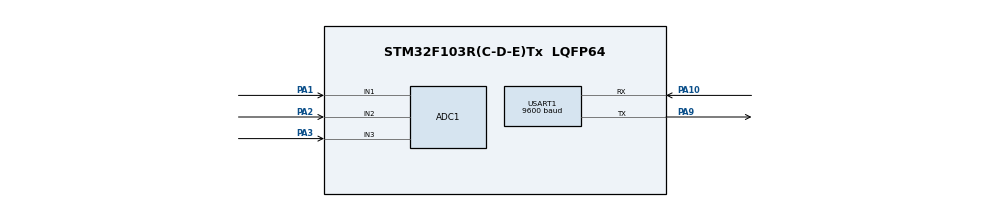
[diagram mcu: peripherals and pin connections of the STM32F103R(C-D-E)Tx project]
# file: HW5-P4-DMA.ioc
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ADC1.Channel-0\#ChannelRegularConversion=ADC_CHANNEL_1
ADC1.Channel-1\#ChannelRegularConversion=ADC_CHANNEL_2
ADC1.Channel-2\#ChannelRegularConversion=ADC_CHANNEL_3
ADC1.ContinuousConvMode=ENABLE
ADC1.NbrOfConversion=3
ADC1.NbrOfConversionFlag=1
ADC1.Rank-0\#ChannelRegularConversion=1
ADC1.Rank-1\#ChannelRegularConversion=2
ADC1.Rank-2\#ChannelRegularConversion=3
ADC1.SamplingTime-0\#ChannelRegularConversion=ADC_SAMPLETIME_239CYCLES_5
ADC1.SamplingTime-1\#ChannelRegularConversion=ADC_SAMPLETIME_239CYCLES_5
ADC1.SamplingTime-2\#ChannelRegularConversion=ADC_SAMPLETIME_239CYCLES_5
ADC1.master=1
Dma.ADC1.0.Direction=DMA_PERIPH_TO_MEMORY
Dma.ADC1.0.Instance=DMA1_Channel1
Dma.ADC1.0.MemDataAlignment=DMA_MDATAALIGN_HALFWORD
Dma.ADC1.0.MemInc=DMA_MINC_ENABLE
Dma.ADC1.0.Mode=DMA_CIRCULAR
Dma.ADC1.0.PeriphDataAlignment=DMA_PDATAALIGN_HALFWORD
Dma.ADC1.0.PeriphInc=DMA_PINC_DISABLE
Dma.ADC1.0.Priority=DMA_PRIORITY_LOW
Dma.Request0=ADC1
Mcu.Family=STM32F1
Mcu.Name=STM32F103R(C-D-E)Tx
Mcu.Package=LQFP64
NVIC.DMA1_Channel1_IRQn=true\:0\:0\:false\:false\:true\:false\:true\:true
NVIC.PriorityGroup=NVIC_PRIORITYGROUP_4
PA1.Signal=ADCx_IN1
PA10.Mode=Asynchronous
PA10.Signal=USART1_RX
PA13.Mode=Serial_Wire
PA13.Signal=SYS_JTMS-SWDIO
PA14.Mode=Serial_Wire
PA14.Signal=SYS_JTCK-SWCLK
PA2.Signal=ADCx_IN2
PA3.Signal=ADCx_IN3
PA9.Mode=Asynchronous
PA9.Signal=USART1_TX
PD0-OSC_IN.Mode=HSE-External-Oscillator
PD0-OSC_IN.Signal=RCC_OSC_IN
PD1-OSC_OUT.Mode=HSE-External-Oscillator
PD1-OSC_OUT.Signal=RCC_OSC_OUT
ProjectManager.HeapSize=0x200
ProjectManager.StackSize=0x400
ProjectManager.TargetToolchain=MDK-ARM V5.32
RCC.APB1Freq_Value=8000000
RCC.APB2Freq_Value=8000000
SH.ADCx_IN1.0=ADC1_IN1,IN1
SH.ADCx_IN2.0=ADC1_IN2,IN2
SH.ADCx_IN3.0=ADC1_IN3,IN3
USART1.BaudRate=9600
USART1.VirtualMode=VM_ASYNC
board=custom

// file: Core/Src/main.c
/* USER CODE BEGIN Header */
/**
  ******************************************************************************
  * @file           : main.c
  * @brief          : Main program body
  ******************************************************************************
  * @attention
  *
  * Copyright (c) 2026 STMicroelectronics.
  * All rights reserved.
  *
  * This software is licensed under terms that can be found in the LICENSE file
  * in the root directory of this software component.
  * If no LICENSE file comes with this software, it is provided AS-IS.
  *
  ******************************************************************************
  */
/* USER CODE END Header */
#include "main.h"

/* USER CODE BEGIN Includes */
#include <stdio.h>
#include <string.h>
/* USER CODE END Includes */

ADC_HandleTypeDef hadc1;
DMA_HandleTypeDef hdma_adc1;

UART_HandleTypeDef huart1;

/* USER CODE BEGIN PV */
char uart_buffer[100];
uint16_t adc_buffer[150]; // 50 samples * 3 channels = 150 elements
volatile uint8_t adc_data_ready = 0; // Flag to tell the main loop the buffer is full
/* USER CODE END PV */

void SystemClock_Config(void);
static void MX_GPIO_Init(void);
static void MX_DMA_Init(void);
static void MX_ADC1_Init(void);
static void MX_USART1_UART_Init(void);

/* USER CODE BEGIN 0 */
void HAL_ADC_ConvCpltCallback(ADC_HandleTypeDef* hadc)
{
    // The DMA has finished filling the 150-element array
    if(hadc->Instance == ADC1)
    {
        adc_data_ready = 1;
    }
}
/* USER CODE END 0 */

int main(void)
{

  /* MCU Configuration--------------------------------------------------------*/

  /* Reset of all peripherals, Initializes the Flash interface and the Systick. */
  HAL_Init();

  /* Configure the system clock */
  SystemClock_Config();

  /* Initialize all configured peripherals */
  MX_GPIO_Init();
  MX_DMA_Init();
  MX_ADC1_Init();
  MX_USART1_UART_Init();
  /* USER CODE BEGIN 2 */
	// Start the ADC in DMA mode ONE time before the while loop.
  // It will run continuously in the background forever.
  HAL_ADC_Start_DMA(&hadc1, (uint32_t*)adc_buffer, 150);
  /* USER CODE END 2 */

  /* Infinite loop */
  /* USER CODE BEGIN WHILE */
  while (1)
  {
		// Only process the data when the DMA tells us 50 new samples for each channel are ready
      if (adc_data_ready == 1)
      {
          uint32_t sum_ch1 = 0, sum_ch2 = 0, sum_ch3 = 0;
          uint16_t avg_ch1, avg_ch2, avg_ch3;

          // Step through the array. i jumps by 3 each time.
          for (int i = 0; i < 150; i += 3)
          {
              sum_ch1 += adc_buffer[i];       // Rank 1
              sum_ch2 += adc_buffer[i + 1];   // Rank 2
              sum_ch3 += adc_buffer[i + 2];   // Rank 3
          }

          avg_ch1 = sum_ch1 / 50;
          avg_ch2 = sum_ch2 / 50;
          avg_ch3 = sum_ch3 / 50;

          // Format and send the string
          sprintf(uart_buffer, "Channel 1: %04d | Channel 2: %04d | Channel 3: %04d\r\n", avg_ch1, avg_ch2, avg_ch3);
          HAL_UART_Transmit(&huart1, (uint8_t*)uart_buffer, strlen(uart_buffer), HAL_MAX_DELAY);

          // Reset the flag and wait
          adc_data_ready = 0;
          HAL_Delay(50);
      }
    /* USER CODE END WHILE */

  }
}

void SystemClock_Config(void)
{
  RCC_OscInitTypeDef RCC_OscInitStruct = {0};
  RCC_ClkInitTypeDef RCC_ClkInitStruct = {0};
  RCC_PeriphCLKInitTypeDef PeriphClkInit = {0};

  /** Initializes the RCC Oscillators according to the specified parameters
  * in the RCC_OscInitTypeDef structure.
  */
  RCC_OscInitStruct.OscillatorType = RCC_OSCILLATORTYPE_HSI;
  RCC_OscInitStruct.HSIState = RCC_HSI_ON;
  RCC_OscInitStruct.HSICalibrationValue = RCC_HSICALIBRATION_DEFAULT;
  RCC_OscInitStruct.PLL.PLLState = RCC_PLL_NONE;
  if (HAL_RCC_OscConfig(&RCC_OscInitStruct) != HAL_OK)
  {
    Error_Handler();
  }

  /** Initializes the CPU, AHB and APB buses clocks
  */
  RCC_ClkInitStruct.ClockType = RCC_CLOCKTYPE_HCLK|RCC_CLOCKTYPE_SYSCLK
                              |RCC_CLOCKTYPE_PCLK1|RCC_CLOCKTYPE_PCLK2;
  RCC_ClkInitStruct.SYSCLKSource = RCC_SYSCLKSOURCE_HSI;
  RCC_ClkInitStruct.AHBCLKDivider = RCC_SYSCLK_DIV1;
  RCC_ClkInitStruct.APB1CLKDivider = RCC_HCLK_DIV1;
  RCC_ClkInitStruct.APB2CLKDivider = RCC_HCLK_DIV1;

  if (HAL_RCC_ClockConfig(&RCC_ClkInitStruct, FLASH_LATENCY_0) != HAL_OK)
  {
    Error_Handler();
  }
  PeriphClkInit.PeriphClockSelection = RCC_PERIPHCLK_ADC;
  PeriphClkInit.AdcClockSelection = RCC_ADCPCLK2_DIV2;
  if (HAL_RCCEx_PeriphCLKConfig(&PeriphClkInit) != HAL_OK)
  {
    Error_Handler();
  }
}

static void MX_ADC1_Init(void)
{

  ADC_ChannelConfTypeDef sConfig = {0};

  /** Common config
  */
  hadc1.Instance = ADC1;
  hadc1.Init.ScanConvMode = ADC_SCAN_ENABLE;
  hadc1.Init.ContinuousConvMode = ENABLE;
  hadc1.Init.DiscontinuousConvMode = DISABLE;
  hadc1.Init.ExternalTrigConv = ADC_SOFTWARE_START;
  hadc1.Init.DataAlign = ADC_DATAALIGN_RIGHT;
  hadc1.Init.NbrOfConversion = 3;
  if (HAL_ADC_Init(&hadc1) != HAL_OK)
  {
    Error_Handler();
  }

  /** Configure Regular Channel
  */
  sConfig.Channel = ADC_CHANNEL_1;
  sConfig.Rank = ADC_REGULAR_RANK_1;
  sConfig.SamplingTime = ADC_SAMPLETIME_239CYCLES_5;
  if (HAL_ADC_ConfigChannel(&hadc1, &sConfig) != HAL_OK)
  {
    Error_Handler();
  }

  /** Configure Regular Channel
  */
  sConfig.Channel = ADC_CHANNEL_2;
  sConfig.Rank = ADC_REGULAR_RANK_2;
  if (HAL_ADC_ConfigChannel(&hadc1, &sConfig) != HAL_OK)
  {
    Error_Handler();
  }

  /** Configure Regular Channel
  */
  sConfig.Channel = ADC_CHANNEL_3;
  sConfig.Rank = ADC_REGULAR_RANK_3;
  if (HAL_ADC_ConfigChannel(&hadc1, &sConfig) != HAL_OK)
  {
    Error_Handler();
  }

}

static void MX_USART1_UART_Init(void)
{

  huart1.Instance = USART1;
  huart1.Init.BaudRate = 9600;
  huart1.Init.WordLength = UART_WORDLENGTH_8B;
  huart1.Init.StopBits = UART_STOPBITS_1;
  huart1.Init.Parity = UART_PARITY_NONE;
  huart1.Init.Mode = UART_MODE_TX_RX;
  huart1.Init.HwFlowCtl = UART_HWCONTROL_NONE;
  huart1.Init.OverSampling = UART_OVERSAMPLING_16;
  if (HAL_UART_Init(&huart1) != HAL_OK)
  {
    Error_Handler();
  }

}

static void MX_DMA_Init(void)
{

  /* DMA controller clock enable */
  __HAL_RCC_DMA1_CLK_ENABLE();

  /* DMA interrupt init */
  /* DMA1_Channel1_IRQn interrupt configuration */
  HAL_NVIC_SetPriority(DMA1_Channel1_IRQn, 0, 0);
  HAL_NVIC_EnableIRQ(DMA1_Channel1_IRQn);

}

static void MX_GPIO_Init(void)
{

  /* GPIO Ports Clock Enable */
  __HAL_RCC_GPIOD_CLK_ENABLE();
  __HAL_RCC_GPIOA_CLK_ENABLE();

}

void Error_Handler(void)
{
  __disable_irq();
  while (1)
  {
  }
}
